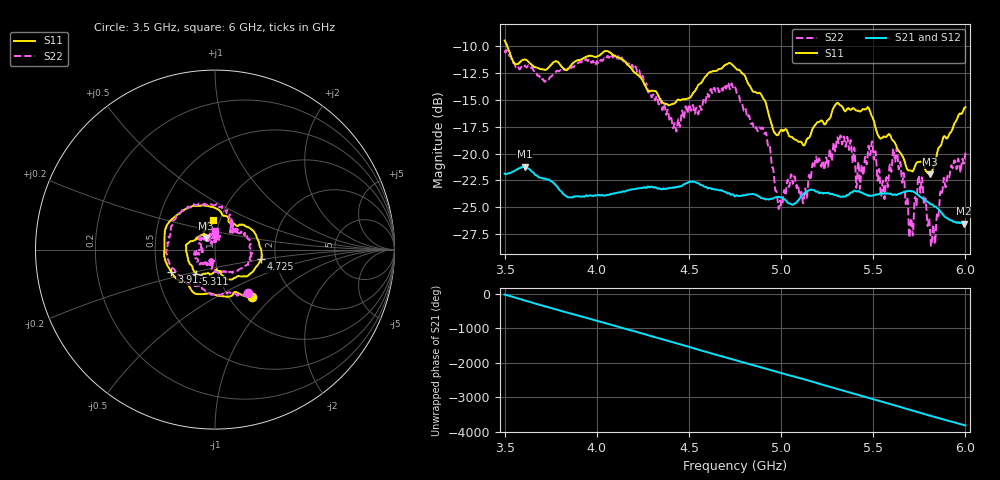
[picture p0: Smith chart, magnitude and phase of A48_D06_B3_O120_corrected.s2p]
! Created with skrf 1.9.0 (http://scikit-rf.org).
# Hz S RI R 50.0
!freq ReS11 ImS11 ReS21 ImS21 ReS12 ImS12 ReS22 ImS22
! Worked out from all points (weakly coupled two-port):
!   1601 points, 3.5 GHz to 6 GHz, reference 50 ohm
!   highest |S21| = -21.22 dB at 3.609 GHz (marker M1); lowest = -26.5 dB at 5.994 GHz (marker M2)
!   lowest |S11| = -21.9 dB at 5.808 GHz (marker M3), VSWR 1.17, Z = 44.9 + j5.66 ohm
!   |S11| at or under -10 dB: 3.514 GHz to end of sweep
!   |S22| runs from -28.6 to -10.4 dB; largest |S21 - S12| = 0.00089
!   S11 on the Smith chart (normalised r, x): 3.5 GHz: 1.26, -0.76; 3.913 GHz: 0.59, -0.16; 4.725 GHz: 1.68, -0.19; 5.311 GHz: 0.78, -0.21; 6 GHz: 0.93, +0.31
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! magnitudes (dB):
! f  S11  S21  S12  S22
! 3.5 GHz  -9.5  -21.9  -21.8  -10.4
! 3.609 GHz  -11.2  -21.2  -21.2  -11.8
! 3.913 GHz  -11.3  -24.0  -24.0  -11.5
! 3.917 GHz  -11.3  -24.0  -24.0  -11.4
! 4.334 GHz  -14.6  -23.2  -23.2  -15.4
! 4.423 GHz  -15.3  -23.2  -23.1  -17.2
! 4.725 GHz  -11.6  -23.8  -23.7  -13.9
! 4.75 GHz  -12.0  -24.0  -23.9  -13.9
! 4.911 GHz  -15.0  -24.2  -24.1  -18.2
! 4.994 GHz  -17.9  -24.1  -24.0  -24.4
! 5.167 GHz  -17.8  -23.4  -23.3  -21.3
! 5.311 GHz  -15.3  -23.9  -23.9  -19.0
! 5.419 GHz  -16.0  -23.5  -23.5  -20.8
! 5.484 GHz  -16.2  -23.9  -23.9  -20.1
! 5.552 GHz  -18.5  -23.7  -23.7  -22.5
! 5.584 GHz  -18.2  -23.7  -23.7  -22.1
! 5.636 GHz  -19.7  -23.7  -23.7  -21.2
! 5.705 GHz  -21.6  -23.5  -23.5  -26.1
! 5.756 GHz  -20.7  -24.0  -24.0  -23.6
! 5.808 GHz  -21.9  -24.7  -24.6  -27.0
! 5.994 GHz  -15.8  -26.5  -26.4  -20.9
! 6 GHz  -15.7  -26.5  -26.4  -19.9
